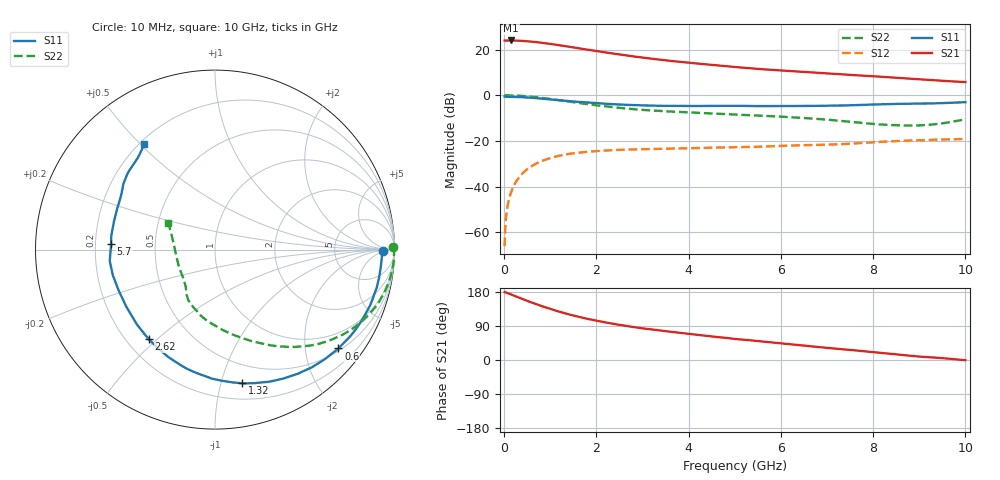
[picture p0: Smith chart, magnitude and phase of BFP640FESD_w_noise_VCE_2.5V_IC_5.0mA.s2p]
! Infineon Technologies  Discrete & RF Semiconductors
! BFP640FESD
! VCE =  2.5 V,  IC =  5.0 mA
! Common Emitter S-Parameters:  Jan 2016
# GHz  S  MA  R  50
!  f  S11  S21  S12  S22
! GHz  MAG  ANG  MAG  ANG  MAG  ANG  MAG  ANG
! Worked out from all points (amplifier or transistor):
!   233 points, 10 MHz to 10 GHz, reference 50 ohm
!   highest |S21| = 24.0 dB at 150 MHz (marker M1)
!   |S21| within 3 dB of that: start of sweep to 1.488 GHz
!   unconditionally stable (mu >= 1): 5.982 GHz to end of sweep
!   at 200 MHz: K = 0.01, MSG = 32.0 dB, |S12| = -40.0 dB
!   at 1.74 GHz: K = 0.29, MSG = 22.5 dB, |S12| = -24.9 dB
!   at 10 GHz: K = 1.21, MAG = 9.6 dB, |S12| = -19.1 dB
!   lowest NFmin = 0.54 dB at 450 MHz
!   S11 on the Smith chart (normalised r, x): 10 MHz: 30, -5; 600 MHz: 0.56, -2.75; 1.32 GHz: 0.33, -1.17; 2.62 GHz: 0.29, -0.47; 5.7 GHz: 0.27, +0.03; 10 GHz: 0.22, +0.51
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0.01  0.9368 -0.6  15.77 179.5  0.0005 31.4  0.9917 0.7
0.02  0.9313 -1.3  15.73 179.1  0.0011 85.5  0.998 -0.8
0.05  0.9304 -3.1  15.72 177.5  0.0026 89.1  0.9982 -1.9
0.15  0.9274 -9.9  15.83 173.0  0.0075 84.4  0.9947 -6.0
0.34  0.9135 -22.3  15.62 163.8  0.0167 77.7  0.9757 -13.5
0.6  0.8811 -38.7  14.89 151.4  0.0283 68.8  0.929 -23.2
0.8  0.8492 -50.6  14.13 142.8  0.036 62.4  0.8824 -30.1
0.96  0.8195 -59.7  13.47 136.3  0.0411 57.8  0.8412 -35.2
1.14  0.7889 -69.5  12.7 129.4  0.0462 53.1  0.7942 -40.7
1.32  0.7598 -78.5  11.92 123.1  0.0505 48.8  0.7482 -45.7
1.68  0.7073 -94.5  10.45 112.0  0.0564 42.0  0.6647 -54.4
1.92  0.6803 -103.7  9.563 105.7  0.0593 38.5  0.6185 -59.7
2.2  0.6533 -113.3  8.657 99.1  0.0619 35.2  0.5726 -65.1
2.62  0.621 -126.4  7.525 90.4  0.0646 31.1  0.5159 -72.9
3  0.6023 -136.4  6.674 83.5  0.0661 28.6  0.4788 -79.1
3.4  0.5887 -145.2  5.966 77.6  0.0672 27.2  0.4525 -84.0
4.1  0.5826 -158.8  5.044 67.7  0.0697 25.8  0.4181 -91.2
5.1  0.5874 -175.1  4.077 54.6  0.0731 24.9  0.3746 -102.3
5.7  0.5801 176.8  3.658 47.7  0.0763 25.5  0.3525 -107.6
6.8  0.5875 159.8  3.096 34.5  0.0823 24.8  0.3035 -120.8
8.4  0.644 139.5  2.457 15.9  0.0986 24.6  0.2233 -152.4
10  0.7073 123.8  1.944 -0.6  0.1107 18.4  0.2972 150.7
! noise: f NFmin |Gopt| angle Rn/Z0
0.45  0.54  0.48  8  0.13
2.4  0.7  0.27  57  0.12
5.5  0.99  0.39  149  0.08
10  1.84  0.51  -122  0.24
